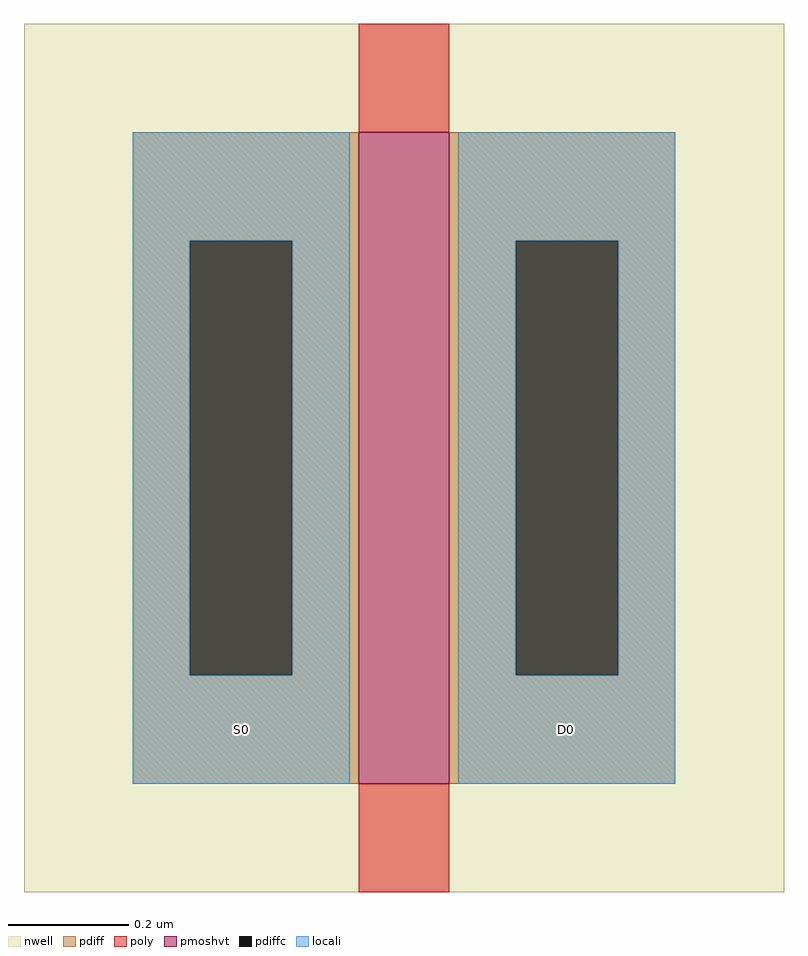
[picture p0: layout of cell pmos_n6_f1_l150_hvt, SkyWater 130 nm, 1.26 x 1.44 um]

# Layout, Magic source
magic
tech sky130A
magscale 1 2
<< nwell >>
rect -72 -36 180 252
<< pmoshvt >>
rect 39 0 69 216
<< pdiff >>
rect -36 180 39 216
rect -36 36 -17 180
rect 17 36 39 180
rect -36 0 39 36
rect 69 180 144 216
rect 69 36 91 180
rect 125 36 144 180
rect 69 0 144 36
<< pdiffc >>
rect -17 36 17 180
rect 91 36 125 180
<< poly >>
rect 39 216 69 252
rect 39 -36 69 0
<< locali >>
rect -36 180 36 216
rect -36 36 -17 180
rect 17 36 36 180
rect -36 0 36 36
rect 72 180 144 216
rect 72 36 91 180
rect 125 36 144 180
rect 72 0 144 36
<< labels >>
rlabel locali 0 18 0 18 0 S0
port 1 nsew
rlabel locali 108 18 108 18 0 D0
port 2 nsew
<< properties >>
string gencell pmos
string library efx
string parameters n 6 fingers 1 length 0.15 butted 0 ltap 0 rtap 0 vt hvt tgate 0 bgate 0
<< end >>
